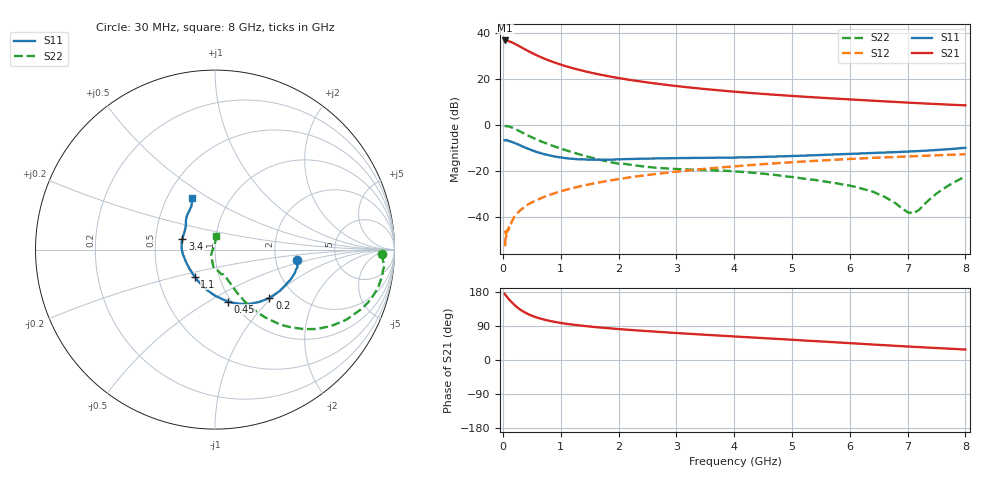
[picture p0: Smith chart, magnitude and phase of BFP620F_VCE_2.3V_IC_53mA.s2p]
! Infineon Technologies  Discrete & RF Semiconductors
! BFP620F
! VCE =  2.3 V,  IC =  53 mA
! Common Emitter S-Parameters:  Dec 2014
# GHz  S  MA  R  50
!  f  S11  S21  S12  S22
! GHz  MAG  ANG  MAG  ANG  MAG  ANG  MAG  ANG
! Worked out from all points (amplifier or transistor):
!   95 points, 30 MHz to 8 GHz, reference 50 ohm
!   highest |S21| = 36.8 dB at 40 MHz (marker M1)
!   |S21| within 3 dB of that: start of sweep to 320.4 MHz
!   unconditionally stable (mu >= 1): 1.843 GHz to end of sweep
!   at 300 MHz: K = 0.52, MSG = 35.6 dB, |S12| = -37.1 dB
!   at 3.3 GHz: K = 1.03, MAG = 16.7 dB, |S12| = -19.6 dB
!   at 8 GHz: K = 1.05, MAG = 9.2 dB, |S12| = -12.8 dB
!   S11 on the Smith chart (normalised r, x): 30 MHz: 2.65, -0.40; 200 MHz: 1.50, -0.97; 450 MHz: 0.97, -0.62; 1.1 GHz: 0.76, -0.24; 3.4 GHz: 0.69, +0.09; 8 GHz: 0.66, +0.43
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0.03  0.4625 -7.3  68.78 174.8  0.0023 85.4  0.9307 -1.6
0.04  0.4626 -9.5  68.82 172.8  0.0024 85.9  0.9372 -3.6
0.08  0.4591 -18.3  67.86 165.0  0.005 78.1  0.9373 -10.9
0.12  0.4397 -26.8  65.06 157.7  0.0065 78.1  0.9123 -17.3
0.15  0.4285 -32.5  62.97 152.9  0.0077 78.5  0.884 -21.7
0.2  0.406 -41.7  58.7 145.3  0.0101 72.7  0.8297 -28.1
0.25  0.382 -49.8  54.52 138.7  0.012 74.9  0.7737 -33.4
0.3  0.3593 -57.2  50.38 133.0  0.0139 73.5  0.7186 -38.0
0.35  0.3361 -64.2  46.41 128.1  0.0155 72.3  0.6661 -41.7
0.45  0.2989 -75.7  39.79 120.1  0.0191 71.0  0.5769 -47.5
0.6  0.2544 -90.9  32.11 111.4  0.0237 70.9  0.4717 -53.4
0.7  0.2334 -99.2  28.28 107.1  0.0267 71.2  0.419 -56.2
0.9  0.2046 -114.1  22.63 100.5  0.0327 71.0  0.3375 -60.0
1.1  0.1877 -127.0  18.76 95.5  0.0389 70.3  0.2782 -62.5
1.4  0.1779 -143.4  14.89 90.0  0.0481 69.9  0.2156 -65.2
2  0.1776 -167.4  10.48 81.7  0.0663 67.6  0.1439 -72.1
2.7  0.1871 174.7  7.79 74.2  0.0872 63.9  0.1159 -83.4
3.4  0.1914 161.5  6.206 67.5  0.1079 59.8  0.1052 -91.3
4.1  0.1962 150.5  5.169 61.3  0.1282 55.6  0.0959 -95.1
5.4  0.2194 137.6  3.975 49.8  0.1654 47.2  0.0634 -105.3
6.7  0.2534 126.0  3.207 38.2  0.1987 38.0  0.0232 -141.2
8  0.3177 114.0  2.663 27.6  0.2302 29.3  0.075 84.5
